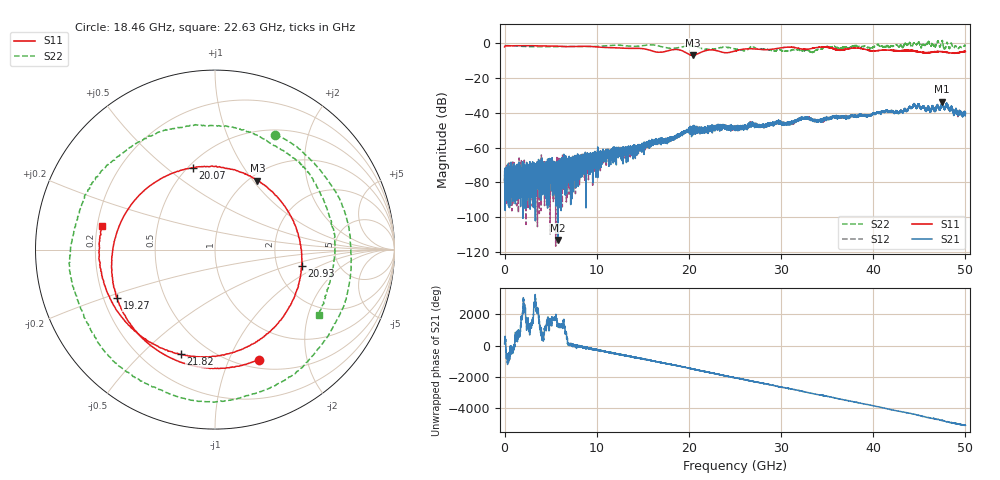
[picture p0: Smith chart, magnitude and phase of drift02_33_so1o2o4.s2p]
!Created with skrf (http://scikit-rf.org).
# Hz S RI R 50.0
!freq ReS11 ImS11 ReS21 ImS21 ReS12 ImS12 ReS22 ImS22
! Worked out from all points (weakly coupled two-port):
!   10000 points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, 5.3 MHz to 50 GHz, reference 50 ohm
!   highest |S21| = -33.66 dB at 47.48 GHz (marker M1); lowest = -113.1 dB at 5.795 GHz (marker M2)
!   lowest |S11| = -6.9 dB at 20.41 GHz (marker M3), VSWR 2.64, Z = 54.5 + j52.5 ohm
!   |S11| at or under -10 dB: nowhere
!   |S22| runs from -5.4 to 1.6 dB; largest |S21 - S12| = 0.003
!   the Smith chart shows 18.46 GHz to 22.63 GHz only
!   S11 on the Smith chart (normalised r, x): 18.46 GHz: 0.60, -1.29; 19.27 GHz: 0.26, -0.22; 20.07 GHz: 0.53, +0.62; 20.93 GHz: 2.74, -0.66; 21.82 GHz: 0.35, -0.66; 22.63 GHz: 0.22, +0.10
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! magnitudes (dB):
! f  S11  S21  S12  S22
! 5.3 MHz  -2.1  -79.6  -77.3  -1.3
! 510.3 MHz  -1.5  -74.3  -74.3  -1.4
! 5.795 GHz  -1.7  -113.1  -79.0  -2.0
! 7.84 GHz  -1.8  -67.1  -77.3  -1.9
! 8.34 GHz  -1.7  -68.8  -69.7  -1.9
! 16.67 GHz  -5.2  -55.5  -56.3  -1.5
! 18.46 GHz  -3.6  -53.3  -54.7  -2.8
! 19.27 GHz  -4.3  -51.6  -52.0  -2.1
! 20.07 GHz  -6.5  -48.5  -49.2  -1.5
! 20.41 GHz  -6.9  -50.6  -49.0  -1.7
! 20.93 GHz  -6.2  -49.5  -49.0  -2.2
! 21.82 GHz  -4.2  -49.7  -49.4  -3.5
! 22.63 GHz  -3.8  -49.1  -49.1  -3.3
! 25.01 GHz  -4.5  -49.1  -50.0  -3.2
! 26.11 GHz  -3.3  -47.2  -48.2  -4.3
! 26.9 GHz  -3.2  -47.3  -46.2  -1.7
! 33.34 GHz  -3.0  -44.2  -43.6  -5.1
! 34.89 GHz  -2.2  -43.5  -42.8  -2.3
! 41.67 GHz  -4.0  -39.7  -39.1  -2.2
! 44.4 GHz  -4.4  -35.0  -35.2  0.3
! 47.48 GHz  -4.8  -33.7  -34.2  1.3
! 50 GHz  -4.8  -39.9  -40.8  -1.4
